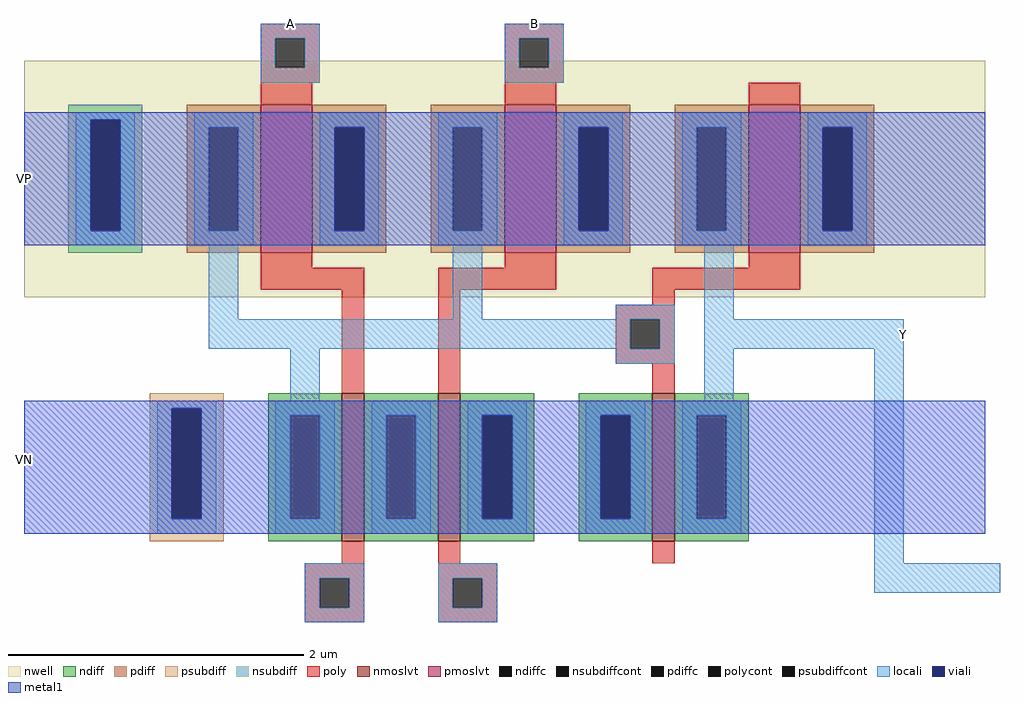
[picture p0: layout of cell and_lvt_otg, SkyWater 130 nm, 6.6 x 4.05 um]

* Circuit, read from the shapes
.subckt and_lvt_otg VP VN A B Y
XM1 n1 A n2 VN sky130_fd_pr__nfet_01v8_lvt w=1 l=0.15
XM2 VN B n1 VN sky130_fd_pr__nfet_01v8_lvt w=1 l=0.15
XM3 Y n2 VN VN sky130_fd_pr__nfet_01v8_lvt w=1 l=0.15
XM4 VP A n2 VP sky130_fd_pr__pfet_01v8_lvt w=1 l=0.35
XM5 VP B n2 VP sky130_fd_pr__pfet_01v8_lvt w=1 l=0.35
XM6 VP n2 Y VP sky130_fd_pr__pfet_01v8_lvt w=1 l=0.35
.ends

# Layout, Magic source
magic
tech sky130A
<< nwell >>
rect -160 220 490 380
<< pmoslvt >>
rect 0 250 35 350
rect 165 250 200 350
rect 330 250 365 350
<< nmoslvt >>
rect 55 55 70 155
rect 120 55 135 155
rect 265 55 280 155
<< ndiff >>
rect 5 140 55 155
rect 5 70 20 140
rect 40 70 55 140
rect 5 55 55 70
rect 70 140 120 155
rect 70 70 85 140
rect 105 70 120 140
rect 70 55 120 70
rect 135 140 185 155
rect 135 70 150 140
rect 170 70 185 140
rect 135 55 185 70
rect 215 140 265 155
rect 215 70 230 140
rect 250 70 265 140
rect 215 55 265 70
rect 280 140 330 155
rect 280 70 295 140
rect 315 70 330 140
rect 280 55 330 70
<< pdiff >>
rect -50 335 0 350
rect -50 265 -35 335
rect -15 265 0 335
rect -50 250 0 265
rect 35 335 85 350
rect 35 265 50 335
rect 70 265 85 335
rect 35 250 85 265
rect 115 335 165 350
rect 115 265 130 335
rect 150 265 165 335
rect 115 250 165 265
rect 200 335 250 350
rect 200 265 215 335
rect 235 265 250 335
rect 200 250 250 265
rect 280 335 330 350
rect 280 265 295 335
rect 315 265 330 335
rect 280 250 330 265
rect 365 335 415 350
rect 365 265 380 335
rect 400 265 415 335
rect 365 250 415 265
<< ndiffc >>
rect 20 70 40 140
rect 85 70 105 140
rect 150 70 170 140
rect 230 70 250 140
rect 295 70 315 140
<< pdiffc >>
rect -35 265 -15 335
rect 50 265 70 335
rect 130 265 150 335
rect 215 265 235 335
rect 295 265 315 335
rect 380 265 400 335
<< psubdiff >>
rect -75 145 -25 155
rect -75 70 -60 145
rect -40 70 -25 145
rect -75 55 -25 70
<< nsubdiff >>
rect -130 340 -80 350
rect -130 265 -115 340
rect -95 265 -80 340
rect -130 250 -80 265
<< psubdiffcont >>
rect -60 70 -40 145
<< nsubdiffcont >>
rect -115 265 -95 340
<< poly >>
rect 0 395 40 405
rect 0 375 10 395
rect 30 375 40 395
rect 0 365 40 375
rect 165 395 205 405
rect 165 375 175 395
rect 195 375 205 395
rect 165 365 205 375
rect 0 350 35 365
rect 165 350 200 365
rect 330 350 365 365
rect 0 240 35 250
rect 165 240 200 250
rect 330 240 365 250
rect 0 225 70 240
rect 55 155 70 225
rect 120 225 200 240
rect 265 225 365 240
rect 120 155 135 225
rect 265 215 280 225
rect 240 205 280 215
rect 240 185 250 205
rect 270 185 280 205
rect 240 175 280 185
rect 265 155 280 175
rect 55 40 70 55
rect 30 30 70 40
rect 30 10 40 30
rect 60 10 70 30
rect 30 0 70 10
rect 120 40 135 55
rect 265 40 280 55
rect 120 30 160 40
rect 120 10 130 30
rect 150 10 160 30
rect 120 0 160 10
<< polycont >>
rect 10 375 30 395
rect 175 375 195 395
rect 250 185 270 205
rect 40 10 60 30
rect 130 10 150 30
<< locali >>
rect 0 395 40 405
rect 0 375 10 395
rect 30 375 40 395
rect 0 365 40 375
rect 165 395 205 405
rect 165 375 175 395
rect 195 375 205 395
rect 165 365 205 375
rect -125 340 -85 345
rect -125 265 -115 340
rect -95 265 -85 340
rect -125 255 -85 265
rect -45 335 -5 345
rect -45 265 -35 335
rect -15 265 -5 335
rect -45 255 -5 265
rect 40 335 80 345
rect 40 265 50 335
rect 70 265 80 335
rect 40 255 80 265
rect 120 335 160 345
rect 120 265 130 335
rect 150 265 160 335
rect 120 255 160 265
rect 205 335 245 345
rect 205 265 215 335
rect 235 265 245 335
rect 205 255 245 265
rect 285 335 325 345
rect 285 265 295 335
rect 315 265 325 335
rect 285 255 325 265
rect 370 335 410 345
rect 370 265 380 335
rect 400 265 410 335
rect 370 255 410 265
rect -35 205 -15 255
rect 130 205 150 255
rect 240 205 280 215
rect -35 185 250 205
rect 270 185 280 205
rect 20 150 40 185
rect 240 175 280 185
rect 300 205 320 255
rect 300 185 435 205
rect 300 150 320 185
rect -70 145 -30 150
rect -70 70 -60 145
rect -40 70 -30 145
rect -70 60 -30 70
rect 10 140 50 150
rect 10 70 20 140
rect 40 70 50 140
rect 10 60 50 70
rect 75 140 115 150
rect 75 70 85 140
rect 105 70 115 140
rect 75 60 115 70
rect 140 140 180 150
rect 140 70 150 140
rect 170 70 180 140
rect 140 60 180 70
rect 220 140 260 150
rect 220 70 230 140
rect 250 70 260 140
rect 220 60 260 70
rect 285 140 325 150
rect 285 70 295 140
rect 315 70 325 140
rect 285 60 325 70
rect 415 40 435 185
rect 30 30 70 40
rect 30 10 40 30
rect 60 10 70 30
rect 30 0 70 10
rect 120 30 160 40
rect 120 10 130 30
rect 150 10 160 30
rect 415 20 500 40
rect 120 0 160 10
<< viali >>
rect -115 265 -95 340
rect 50 265 70 335
rect 215 265 235 335
rect 380 265 400 335
rect -60 70 -40 145
rect 150 70 170 140
rect 230 70 250 140
<< metal1 >>
rect -160 340 490 345
rect -160 265 -115 340
rect -95 335 490 340
rect -95 265 50 335
rect 70 265 215 335
rect 235 265 380 335
rect 400 265 490 335
rect -160 255 490 265
rect -160 145 490 150
rect -160 70 -60 145
rect -40 140 490 145
rect -40 70 150 140
rect 170 70 230 140
rect 250 70 490 140
rect -160 60 490 70
<< labels >>
rlabel locali 435 195 435 195 3 Y
port 5 e
rlabel metal1 -160 110 -160 110 7 VN
port 2 w
rlabel metal1 -160 300 -160 300 7 VP
port 1 w
rlabel locali 20 405 20 405 1 A
port 3 n
rlabel locali 185 405 185 405 1 B
port 4 n
<< end >>
